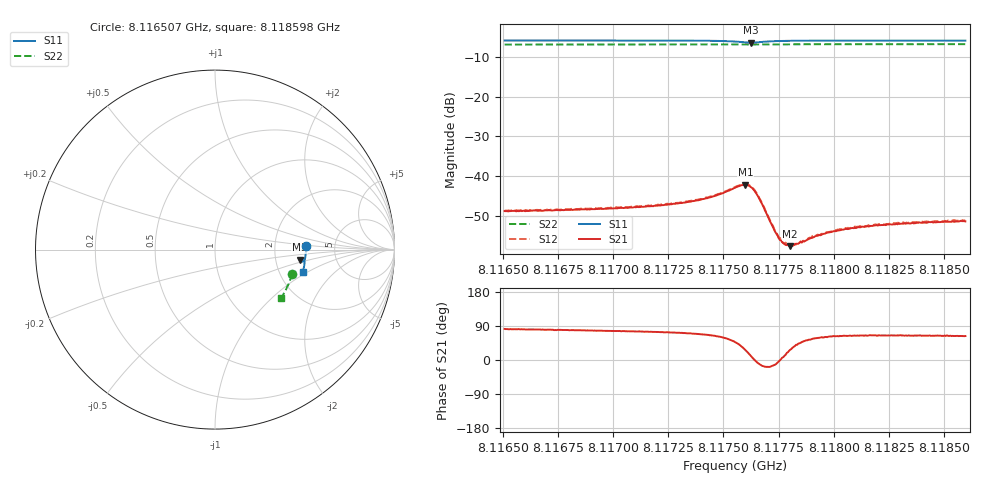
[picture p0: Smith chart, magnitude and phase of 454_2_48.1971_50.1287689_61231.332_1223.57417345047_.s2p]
#  HZ  S  RI  R  50.00
! Rohde & Schwarz Vector Network Analyzer
! Rohde-Schwarz,ZNB20-2Port,1311601062101988,3.16
! Created: UTC 3/20/2024, 11:56:22 AM
! freq[Hz]  re:S11  im:S11  re:S21  im:S21  re:S12  im:S12  re:S22  im:S22
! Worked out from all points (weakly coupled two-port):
!   401 points, 8.116507 GHz to 8.118598 GHz, reference 50 ohm
!   highest |S21| = -42.20 dB at 8.1176 GHz (marker M1); lowest = -57.6 dB at 8.117803 GHz (marker M2)
!   lowest |S11| = -6.4 dB at 8.117626 GHz (marker M3), VSWR 2.82, Z = 138 - j19.8 ohm
!   |S11| at or under -10 dB: nowhere
!   |S22| runs from -6.9 to -6.8 dB; largest |S21 - S12| = 0.00019
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8.1165071e9  0.5068 0.0212  0.000509 0.00358  0.000615 0.00363  0.4294 -0.1354
8.1168573e9  0.5067 -0.00561  0.000775 0.00373  0.000819 0.00379  0.4223 -0.1588
8.1170559e9  0.5059 -0.0213  0.000961 0.00386  0.00103 0.00394  0.4175 -0.1719
8.1172075e9  0.5045 -0.0336  0.00118 0.00409  0.00125 0.00414  0.4138 -0.1818
8.1173957e9  0.5011 -0.0506  0.00187 0.00467  0.00196 0.00475  0.4088 -0.1942
8.1174897e9  0.496 -0.0609  0.00294 0.00521  0.00303 0.0053  0.4059 -0.2002
8.1175525e9  0.4873 -0.0669  0.00482 0.00522  0.00492 0.00532  0.4038 -0.2042
8.1175995e9  0.4757 -0.0636  0.00695 0.00346  0.00709 0.00349  0.4019 -0.2067
8.1176256e9  0.4731 -0.0556  0.00713 0.00125  0.00732 0.00122  0.4011 -0.2078
8.1176413e9  0.4751 -0.0507  0.0065 2.17e-05  0.00665 -6.65e-05  0.4009 -0.2087
8.1176622e9  0.4804 -0.0469  0.00513 -0.00095  0.00525 -0.000994  0.4006 -0.2099
8.117725e9  0.4937 -0.0511  0.0022 -0.00058  0.00226 -0.00065  0.3994 -0.2139
8.1177459e9  0.4958 -0.054  0.00176 -0.000208  0.00178 -0.000254  0.3987 -0.2153
8.1177615e9  0.4967 -0.0562  0.00155 6.11e-05  0.0016 3.51e-05  0.3982 -0.2164
8.1177772e9  0.4978 -0.0582  0.00136 0.000272  0.0014 0.000267  0.3978 -0.2174
8.1178034e9  0.4985 -0.0615  0.00117 0.000595  0.00121 0.000628  0.3971 -0.2191
8.1178347e9  0.499 -0.0652  0.00107 0.000905  0.00107 0.000901  0.396 -0.2212
8.1179027e9  0.4992 -0.0721  0.000944 0.00138  0.00102 0.00141  0.394 -0.2254
8.1179706e9  0.4987 -0.0785  0.000962 0.00169  0.000941 0.00172  0.3917 -0.2298
8.1180438e9  0.498 -0.0848  0.000928 0.0019  0.000984 0.00193  0.3892 -0.2343
8.1182529e9  0.495 -0.1016  0.00106 0.00222  0.00111 0.00226  0.3821 -0.247
8.1185978e9  0.4888 -0.1275  0.00121 0.0024  0.00124 0.00249  0.3691 -0.2677
